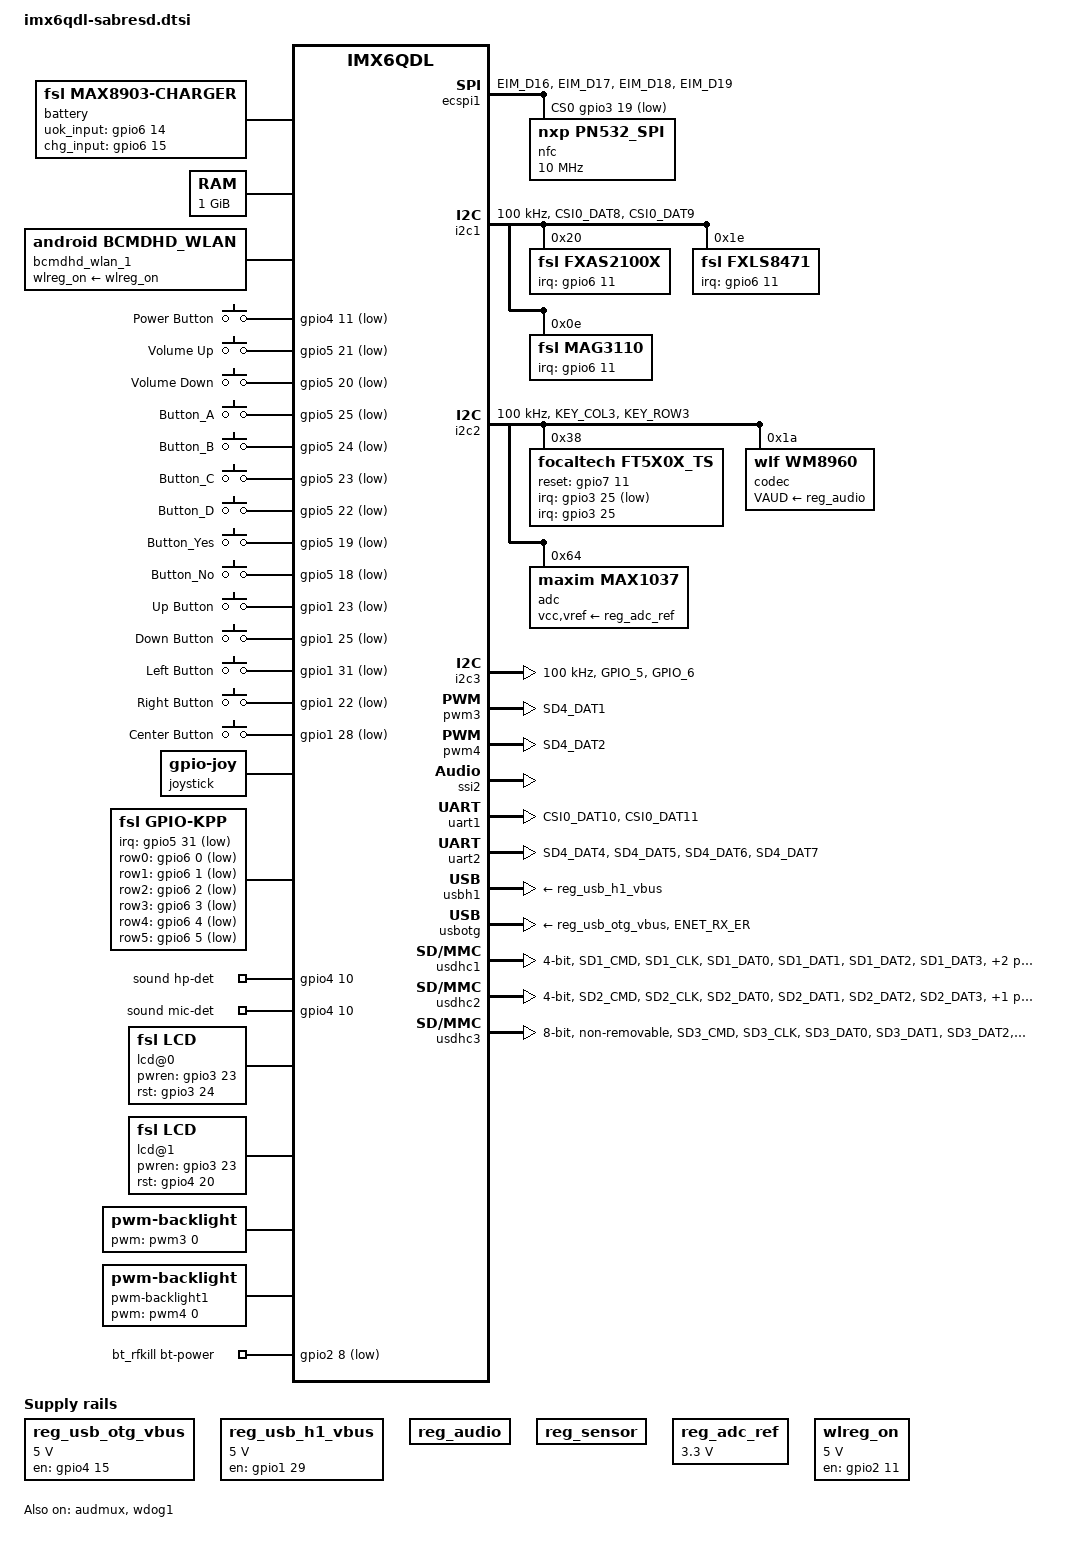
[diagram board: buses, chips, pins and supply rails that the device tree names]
/*
 * Copyright 2012 Freescale Semiconductor, Inc.
 * Copyright 2011 Linaro Ltd.
 *
 * The code contained herein is licensed under the GNU General Public
 * License. You may obtain a copy of the GNU General Public License
 * Version 2 or later at the following locations:
 *
 * http://www.opensource.org/licenses/gpl-license.html
 * http://www.gnu.org/copyleft/gpl.html
 */

#include <dt-bindings/input/input.h>

/ {
	aliases {
		mxcfb0 = &mxcfb1;
		mxcfb1 = &mxcfb2;
		mxcfb2 = &mxcfb3;
		mxcfb3 = &mxcfb4;
	};

	battery: max8903-charger {
		compatible = "fsl,max8903-charger";
		pinctrl-names = "default";
		dok_input = <>;
		uok_input = <&gpio6 14 0>;
		chg_input = <&gpio6 15 0>;
		//flt_input = <>;
		fsl,usb_valid;
		status = "okay";
	};

/*	battery: wm8326_hwmon {							*/				
/*		compatible = "wlf,wm831x-hwmon1";			*/				/* wm8326 */
/*	};												*/											

/*	hannstar_cabc {									*/
/*		compatible = "hannstar,cabc";				*/
/*													*/
/*		lvds0 {										*/
/*			gpios = <&gpio6 15 GPIO_ACTIVE_HIGH>;	*/
/*		};											*/
/*													*/
/*		lvds1 {										*/
/*			gpios = <&gpio6 16 GPIO_ACTIVE_HIGH>;	*/
/*		};											*/
/*	};												*/

/*	leds {																		*/
/*		compatible = "gpio-leds";												*/
/*																				*/
/*		charger-led {															*/
/*			gpios = <&gpio1 2 0>;												*/
/*			linux,default-trigger = "max8903-charger-charging";					*/
/*			retain-state-suspended;												*/
/*		};																		*/
/*	};																			*/

	memory: memory {
		reg = <0x10000000 0x40000000>;
	};

	regulators {
		compatible = "simple-bus";
		#address-cells = <1>;
		#size-cells = <0>;

		reg_usb_otg_vbus: regulator@0 {
			compatible = "regulator-fixed";
			reg = <0>;
			regulator-name = "usb_otg_vbus";
			regulator-min-microvolt = <5000000>;
			regulator-max-microvolt = <5000000>;
			gpio = <&gpio4 15 0>;
			enable-active-high;
		};

		reg_usb_h1_vbus: regulator@1 {
			compatible = "regulator-fixed";
			reg = <1>;
			regulator-name = "usb_h1_vbus";
			regulator-min-microvolt = <5000000>;
			regulator-max-microvolt = <5000000>;
			gpio = <&gpio1 29 0>;
			enable-active-high;
		};

		reg_audio: regulator@2 {
			compatible = "regulator-fixed";
			reg = <2>;
			regulator-name = "dummy-supply";
		};

/*		reg_mipi_dsi_pwr_on: mipi_dsi_pwr_on {		*/
/*			compatible = "regulator-fixed";			*/
/*			regulator-name = "mipi_dsi_pwr_on";		*/
/*			gpio = <&gpio6 14 0>;					*/
/*			enable-active-high;						*/
/*		};											*/

		reg_sensor: regulator@3 {
			compatible = "regulator-fixed";
			reg = <3>;
			regulator-name = "dummy2-supply";
		};

/*		reg_gps: regulator@4 {						*/
/*			compatible = "regulator-fixed";			*/
/*			reg = <4>;								*/
/*			regulator-name = "gps-supply";			*/
/*			regulator-min-microvolt = <3300000>;	*/
/*			regulator-max-microvolt = <3300000>;	*/
/*			gpio = <&gpio4 26 0>;					*/
/*			startup-delay-us = <500>;				*/
/*			enable-active-high;						*/
/*		};											*/

/*
		reg_backlight: regulator@5 {				
			compatible = "regulator-fixed";			
			reg = <5>;								
			regulator-name = "lcd-supply";			
			gpio = <&gpio3 23 GPIO_ACTIVE_HIGH>;	
			startup-delay-us = <5000>;				
			enable-active-high;						
		};											
*/

		reg_adc_ref: regulator@6 {
			compatible = "regulator-fixed";
			reg = <6>;
			regulator-name = "adc-vref-supply";
			regulator-min-microvolt = <3300000>;
			regulator-max-microvolt = <3300000>;
			enable-active-high;
		};

		wlreg_on: fixedregulator@100 {
			compatible = "regulator-fixed";
			regulator-min-microvolt = <5000000>;
			regulator-max-microvolt = <5000000>;
			regulator-name = "wlreg_on";
			gpio = <&gpio2 11 GPIO_ACTIVE_HIGH>;
			startup-delay-us = <100>;
			enable-active-high;
		};

	};

	bcmdhd_wlan_1: bcmdhd_wlan@0 {
		compatible = "android,bcmdhd_wlan";
		wlreg_on-supply = <&wlreg_on>;
	};	


	gpio-keys {
		compatible = "gpio-keys";
		pinctrl-names = "default";
		pinctrl-0 = <&pinctrl_gpio_keys>;

		power {
			label = "Power Button";
			gpios = <&gpio4 11 1>;
			gpio-key,wakeup;
			linux,code = <KEY_POWER>;
		};

		volume-up {
			label = "Volume Up";
			gpios = <&gpio5 21 1>;
			gpio-key;
			linux,code = <KEY_VOLUMEUP>;
		};
		volume-down {
			label = "Volume Down";
			gpios = <&gpio5 20 1>;
			gpio-key;
			linux,code = <KEY_VOLUMEDOWN>;
		};

		Button_A {
			label = "Button_A";
			gpios = <&gpio5 25 1>;
			gpio-key;
			linux,code = <KEY_J>;   /*A-->J*/
		};

		Button_B {
			label = "Button_B";
			gpios = <&gpio5 24 1>;
			gpio-key;
			linux,code = <KEY_SPACE>;   /*空格*/
		};

		Button_C {							
			label = "Button_C";	
			gpios = <&gpio5 23 1>;	
			gpio-key;				
			linux,code = <KEY_ESC>;   /*ESC*/
		};							

		Button_D {
			label = "Button_D";
			gpios = <&gpio5 22 1>;
			gpio-key;
			linux,code = <KEY_K>;   /*D-->K*/
		};

		Button_Yes {   
			label = "Button_Yes";
			gpios = <&gpio5 19 1>;
			gpio-key;
			//linux,code = <BTN_Y>;//*0X134*//
			linux,code = <KEY_SELECT>;  /*0X161*/
		};

		Button_No {
			label = "Button_No";
			gpios = <&gpio5 18 1>;
			gpio-key;
			linux,code =<KEY_Z>;//*0X102*//
		};

		/*五向键*/
		Button_Up {
			label = "Up Button";
			gpios = <&gpio1 23 1>;
			gpio-key;
			linux,code = <KEY_UP>;
		};

		Button_Down {
			label = "Down Button";
			gpios = <&gpio1 25 1>;
			gpio-key;
			linux,code = <KEY_DOWN>;
		};

		Button_Left {
			label = "Left Button";
			gpios = <&gpio1 31 1>;
			gpio-key;
			linux,code = <KEY_LEFT>;
		};

		Button_Right {
			label = "Right Button";
			gpios = <&gpio1 22 1>;
			gpio-key;
			linux,code = <KEY_RIGHT>;
		};
			
		Button_Center {
			label = "Center Button";
			gpios = <&gpio1 28 1>;
			gpio-key;
			linux,code = <KEY_SELECT>;  /*0X161*/
		};
	};

	joystick {
		compatible = "gpio-joy";
		pinctrl-names = "default";
		debounce-interval-ms = <1>;
		debounce-range = <3>;
		up-linux,code = <KEY_UP>;
		down-linux,code = <KEY_DOWN>;
		left-linux,code = <KEY_LEFT>;
		right-linux,code = <KEY_RIGHT>;
		detect-max = <192>;
		detect-min = <64>;
		detect-up = <25>;
		detect-down = <230>;
		detect-left = <25>;
		detect-right = <230>;
	};

/*	gps {												*/
/*		compatible = "ublox,gps";						*/
/*		gps-supply = <&reg_gps>;						*/
/*		gps-rst-gpios = <&gpio4 27 GPIO_ACTIVE_HIGH>;	*/
/*		status = "okay";								*/
/*	};													*/
	
	kpp {
		compatible = "fsl,gpio-kpp";
		pinctrl-names = "default";
		pinctrl-0 = <&pinctrl_kpp1>;
		linux,keymap = <
				MATRIX_KEY(0x1, 0x0, KEY_A)
				MATRIX_KEY(0x1, 0x2, KEY_B)
				MATRIX_KEY(0x0, 0x2, KEY_C)
				MATRIX_KEY(0x2, 0x5, KEY_D)
				MATRIX_KEY(0x2, 0x0, KEY_E)
				MATRIX_KEY(0x3, 0x5, KEY_F)
				MATRIX_KEY(0x3, 0x0, KEY_G)
				MATRIX_KEY(0x3, 0x2, KEY_H)
				MATRIX_KEY(0x5, 0x0, KEY_I)
				MATRIX_KEY(0x5, 0x1, KEY_J)
				MATRIX_KEY(0x1, 0x4, KEY_K)
				MATRIX_KEY(0x1, 0x5, KEY_L)
				MATRIX_KEY(0x0, 0x5, KEY_M)
				MATRIX_KEY(0x0, 0x1, KEY_N)
				MATRIX_KEY(0x2, 0x1, KEY_O)
				MATRIX_KEY(0x2, 0x3, KEY_P)
				MATRIX_KEY(0x3, 0x1, KEY_Q)
				MATRIX_KEY(0x5, 0x2, KEY_R)
				MATRIX_KEY(0x4, 0x0, KEY_S)
				MATRIX_KEY(0x5, 0x5, KEY_T)
				MATRIX_KEY(0x1, 0x3, KEY_U)
				MATRIX_KEY(0x0, 0x3, KEY_V)
				MATRIX_KEY(0x0, 0x4, KEY_W)
				MATRIX_KEY(0x2, 0x4, KEY_X)
				MATRIX_KEY(0x5, 0x4, KEY_Y)
				MATRIX_KEY(0x5, 0x3, KEY_Z)
				MATRIX_KEY(0x3, 0x4, KEY_BACK)
				MATRIX_KEY(0x4, 0x1, KEY_ENTER)
		>;
		irq-gpio = <&gpio5 31 1>;
		gpio-row0 = <&gpio6 0 1>;
		gpio-row1 = <&gpio6 1 1>;
		gpio-row2 = <&gpio6 2 1>;
		gpio-row3 = <&gpio6 3 1>;
		gpio-row4 = <&gpio6 4 1>;
		gpio-row5 = <&gpio6 5 1>;
		status = "okay";
	};


	sound {
		compatible = "fsl,imx6ul-evk-wm8960",
			   "fsl,imx-audio-wm8960";
		model = "wm8960-audio";
		cpu-dai = <&ssi2>;
		audio-codec = <&codec>;
		asrc-controller = <&asrc>;
		codec-master;
		/*
                 * hp-det = <hp-det-pin hp-det-polarity>;
		 * hp-det-pin: JD1 JD2  or JD3
		 * hp-det-polarity = 0: hp detect high for headphone
		 * hp-det-polarity = 1: hp detect high for speaker
		 */
		hp-det = <3 0>;
		hp-det-gpios = <&gpio4 10 0>;
		mic-det-gpios = <&gpio4 10 0>;
		audio-routing =
			"Headset Jack", "HP_L",
			"Headset Jack", "HP_R",
			"Ext Spk", "SPK_LP",
			"Ext Spk", "SPK_LN",
			"Ext Spk", "SPK_RP",
			"Ext Spk", "SPK_RN",
			"LINPUT1", "Hp MIC",
			"LINPUT3", "Hp MIC",
			"RINPUT1", "Main MIC",
			"RINPUT2", "Main MIC",
			"Hp MIC", "MICB",
			"Main MIC", "MICB",
			"CPU-Playback", "ASRC-Playback",
			"Playback", "CPU-Playback",
			"ASRC-Capture", "CPU-Capture",
			"CPU-Capture", "Capture";
		mux-int-port = <2>;
		mux-ext-port = <5>;
	};

/*	sound-hdmi {								*/
/*		compatible = "fsl,imx6q-audio-hdmi",	*/
/*			     "fsl,imx-audio-hdmi";			*/
/*		model = "imx-audio-hdmi";				*/
/*		hdmi-controller = <&hdmi_audio>;		*/
/*		status = "disabled";					*/
/*	};											*/

	mxcfb1: fb@0 {
		compatible = "fsl,mxc_sdc_fb";
		disp_dev = "lcd";
		interface_pix_fmt = "RGB24";
		mode_str ="Himax-SVGA";
		default_bpp = <24>;
		int_clk = <0>;
		late_init = <0>;
		status = "okay";
	};

	mxcfb2: fb@1 {
		compatible = "fsl,mxc_sdc_fb";
		disp_dev = "lcd";
		interface_pix_fmt = "RGB24";
		mode_str ="Himax-SVGA";
		default_bpp = <24>;
		int_clk = <0>;
		late_init = <0>;
		status = "okay";
	};

	mxcfb3: fb@2 {
		compatible = "fsl,mxc_sdc_fb";
		disp_dev = "lcd";
		interface_pix_fmt = "RGB565";
		mode_str ="CLAA-WVGA";
		default_bpp = <16>;
		int_clk = <0>;
		late_init = <0>;
		status = "disabled";
	};

	mxcfb4: fb@3 {
		compatible = "fsl,mxc_sdc_fb";
		disp_dev = "ldb";
		interface_pix_fmt = "RGB666";
		default_bpp = <16>;
		int_clk = <0>;
		late_init = <0>;
		status = "disabled";
	};

	lcd@0 { 	/* J701 */
		compatible = "fsl,lcd";
		ipu_id = <0>;
		disp_id = <1>;
		default_ifmt = "RGB24";
		pinctrl-names = "default";
		pinctrl-0 = <&pinctrl_ipu1_sec>;
		pwren-gpios = <&gpio3 23 0>;
		rst-gpios = <&gpio3 24 0>;
		status = "okay";
	};

	lcd@1 {	/* J1821 */
		compatible = "fsl,lcd";
		ipu_id = <0>;
		disp_id = <0>;
		default_ifmt = "RGB24";
		pinctrl-names = "default";
		pinctrl-0 = <&pinctrl_ipu1>;
		pwren-gpios = <&gpio3 23 0>;
		rst-gpios = <&gpio4 20 0>;
		status = "okay";
	};

	pwm-backlight {
		compatible = "pwm-backlight";
		pwms = <&pwm3 0 50000>;
		brightness-levels = <
			0  /*1  2  3  4  5  6*/  7  8  9
			10 11 12 13 14 15 16 17 18 19
			20 21 22 23 24 25 26 27 28 29
			30 31 32 33 34 35 36 37 38 39
			40 41 42 43 44 45 46 47 48 49
			50 51 52 53 54 55 56 57 58 59
			60 61 62 63 64 65 66 67 68 69
			70 71 72 73 74 75 76 77 78 79
			80 81 82 83 84 85 86 87 88 89
			90 91 92 93 94 95 96 97 98 99
			100
			>;
		default-brightness-level = <94>;
	};

	pwm-backlight1 {
		compatible = "pwm-backlight";
		pwms = <&pwm4 0 50000>;
		brightness-levels = <
			0  /*1  2  3  4  5  6*/  7  8  9
			10 11 12 13 14 15 16 17 18 19
			20 21 22 23 24 25 26 27 28 29
			30 31 32 33 34 35 36 37 38 39
			40 41 42 43 44 45 46 47 48 49
			50 51 52 53 54 55 56 57 58 59
			60 61 62 63 64 65 66 67 68 69
			70 71 72 73 74 75 76 77 78 79
			80 81 82 83 84 85 86 87 88 89
			90 91 92 93 94 95 96 97 98 99
			100
			>;
		default-brightness-level = <94>;
	};

/*	v4l2_cap_0 {										*/
/*		compatible = "fsl,imx6q-v4l2-capture";			*/
/*		ipu_id = <0>;									*/
/*		csi_id = <0>;									*/
/*		mclk_source = <0>;								*/
/*		status = "disabled";							*/
/*	};													*/

/*	v4l2_cap_1 {										*/
/*		compatible = "fsl,imx6q-v4l2-capture";			*/
/*		ipu_id = <0>;									*/
/*		csi_id = <1>;									*/
/*		mclk_source = <0>;								*/
/*		status = "disabled";							*/
/*	};													*/

/*	v4l2_out {											*/
/*		compatible = "fsl,mxc_v4l2_output";				*/
/*		status = "disabled";							*/
/*	};													*/

/*	mipi_dsi_reset: mipi-dsi-reset {					*/
/*		compatible = "gpio-reset";						*/
/*		reset-gpios = <&gpio6 11 GPIO_ACTIVE_LOW>;		*/
/*		reset-delay-us = <50>;							*/
/*		#reset-cells = <0>;								*/
/*	};													*/
	
/*	minipcie_ctrl {										*/
/*		power-on-gpio = <&gpio3 19 0>;					*/
/*	};													*/

    bt_rfkill {
                compatible = "fsl,mxc_bt_rfkill";
                bt-power-gpios = <&gpio2 8 1>;
				//bt-dev-wake-gpios = <&gpio2 4 1>;
                status ="okay";
    };

	ramoops_device {
		compatible = "fsl,mxc_ramoops";
		record_size = <524288>; /*512K*/
		console_size = <262144>; /*256K*/
		ftrace_size = <262144>;  /*256K*/
		dump_oops = <1>;
		status = "okay";
	};

	caam_keyblob {
		compatible = "fsl,sec-v4.0-keyblob";
	};

};

&audmux {
	pinctrl-names = "default";
	pinctrl-0 = <&pinctrl_audmux>;
	status = "okay";
};

&cpu0 {
/*	arm-supply = <&sw1a_reg>;
	soc-supply = <&sw1c_reg>;
*/
};

&clks {
	fsl,ldb-di0-parent = <&clks IMX6QDL_CLK_PLL2_PFD0_352M>;
	fsl,ldb-di1-parent = <&clks IMX6QDL_CLK_PLL2_PFD0_352M>;
	assigned-clocks = <&clks IMX6QDL_CLK_CKO1>;
	assigned-clock-rates = <12288000>;
};

&ecspi1 {
	fsl,spi-num-chipselects = <1>;
	cs-gpios = <&gpio3 19 GPIO_ACTIVE_LOW>;
	pinctrl-names = "default";
	pinctrl-0 = <&pinctrl_ecspi1>;
	status = "okay";

	nfc: pn512@0 {				
		compatible = "nxp,pn532_spi";
		spi-max-frequency = <10000000>;
		reg = <0>;
	};
};

/*&ecspi1 {									*/
/*	fsl,spi-num-chipselects = <1>;			*/
/*	cs-gpios = <&gpio4 9 0>;				*/
/*	pinctrl-names = "default";				*/
/*	pinctrl-0 = <&pinctrl_ecspi1>;			*/
/*	status = "disabled";					*/
											
/*	flash: m25p80@0 {						*/
/*		#address-cells = <1>;				*/
/*		#size-cells = <1>;					*/
/*		compatible = "st,m25p32";			*/
/*		spi-max-frequency = <20000000>;		*/
/*		reg = <0>;							*/
/*	};										*/
/*};										*/

/*	&fec {								*/
/*	pinctrl-names = "default";			*/
/*	pinctrl-0 = <&pinctrl_enet>;		*/
/*	phy-mode = "rgmii";					*/
/*	phy-reset-gpios = <&gpio1 25 0>;	*/
/*	fsl,magic-packet;					*/
/*	status = "disabled";				*/
/*	};									*/

&i2c1 {
	clock-frequency = <100000>;
	pinctrl-names = "default";
	pinctrl-0 = <&pinctrl_i2c1>;
	status = "okay";

	fxas2100x@20 {	/* Gyroscope */						
		compatible = "fsl,fxas2100x";	
		reg = <0x20>;					
		position = <3>;					
		interrupt-parent = <&gpio6>;
		interrupts = <11 8>;	
		/* shared-interrupt;			*/	
	};									

	fxls8471@1e {	/* Accelerometer */					
		compatible = "fsl,fxls8471";	
		reg = <0x1E>;					
		position = <0>;					
		interrupt-parent = <&gpio6>;	
		interrupts = <11 8>;			
		/* shared-interrupt;			*/			
	};									


	mag3110@0e {	/* e-Compass */					
		compatible = "fsl,mag3110";		
		reg = <0x0E>;					
		position = <1>;					
		interrupt-parent = <&gpio6>;
		interrupts = <11 8>;	
		/* shared-interrupt;			*/		
	};									
};

&i2c2 {
	clock-frequency = <100000>;
	pinctrl-names = "default";
	pinctrl-0 = <&pinctrl_i2c2>;
	status = "okay";

	/* add by ian at 2017-03-02 */
	/* for touchscreen FT5336 */
	ft5x0x_ts@38 {						
		compatible = "focaltech,ft5x0x_ts";	
 		reg = <0x38>;						
 		interrupt-parent = <&gpio3>;		
 		interrupts = <25 0x2>;				
		reset-gpio = <&gpio7 11 0x00>;		
		irq-gpio = <&gpio3 25 0x01>;		
	};									
	
	
/*	hdmi: edid@50 {							*/
/*		compatible = "fsl,imx6-hdmi-i2c";	*/
/*		reg = <0x50>;						*/
/*	};										*/

	codec: wm8960@1a {
		compatible = "wlf,wm8960";
		reg = <0x1a>;
		clocks = <&clks IMX6QDL_CLK_CKO>;
		clock-names = "mclk";
		VAUD-supply = <&reg_audio>;
		wlf,shared-lrclk;
	};

	adc@64 {								
		compatible = "maxim,max1037";		
		vcc-supply = <&reg_adc_ref>;
		vref-supply = <&reg_adc_ref>;		
		reg = <0x64>;						
	};										

/*	isl29023@44 {						*/
/*		compatible = "fsl,isl29023";	*/
/*		reg = <0x44>;					*/
/*		rext = <499>;					*/
/*		vdd-supply = <&reg_sensor>;		*/
/*		interrupt-parent = <&gpio2>;	*/
/*		interrupts = <31 2>;			*/
/*	};									*/

/*	lm75@48 {							*/
/*		compatible = "lm75";			*/
/*		reg = <0x48>;					*/
/*	};									*/
	
};

&i2c3 {
	clock-frequency = <100000>;
	pinctrl-names = "default";
	pinctrl-0 = <&pinctrl_i2c3>;
	status = "okay";

/*	sht3x@44 {								*/
/*		compatible = "sensirion,sht3x";		*/
/*		reg = <0x44>;						*/
/*	};										*/

/*	mpl3115@60 {							*/
/*		compatible = "fsl,mpl3115";			*/
/*		reg = <0x60>;						*/
/*		position = <3>;						*/
/*		interrupt-parent = <&gpio5>;		*/
/*		interrupts = <25 8>;				*/
/*		shared-interrupt;					*/
/*	};										*/

/*	wm8326: wm8326@34 {						*/
/*		compatible = "wlf,wm8326";			*/
/*		status = "okay";					*/
/*		battadc-gpios = <&gpio6 16 0>;		*/
/*		chgok-gpios = <&gpio6 15 0>;		*/
/*		acok-gpios = <&gpio6 14 0>;			*/
/*		reg = <0x34>;						*/
/*	};										*/

/*	ov564x_mipi: ov564x_mipi@3c { 			*/	/* i2c2 driver */
/*		compatible = "ovti,ov564x_mipi";	*/
/*		status = "disabled";				*/
/*		reg = <0x3c>;						*/
/*		clocks = <&clks IMX6QDL_CLK_CKO2>;	*/
/*		clock-names = "csi_mclk";			*/
/*		DOVDD-supply = <&reg_sensor>;		*/	/* 1.8v */
/*		AVDD-supply = <&reg_sensor>;		*/  /* 2.8v, on rev C board is VGEN3, on rev B board is VGEN5 */
/*		DVDD-supply = <&reg_sensor>;		*/	/* 1.5v*/
/*		pwn-gpios = <&gpio5 17 1>;			*/	/* active low: SD1_DAT0 */
/*		rst-gpios = <&gpio4 10 0>;			*/	/* active high: KEY_COL2 */
/*		csi_id = <1>;						*/
/*		mclk = <24000000>;					*/
/*		mclk_source = <0>;					*/
/*	};										*/

};

&iomuxc {
	pinctrl-names = "default";
	pinctrl-0 = <&pinctrl_hog>;

	imx6qdl-sabresd {
		pinctrl_hog: hoggrp {
			fsl,pins = <
				MX6QDL_PAD_ENET_RXD0__XTALOSC_OSC32K_32K_OUT 0x100b1
				MX6QDL_PAD_NANDF_D0__GPIO2_IO00 		0x80000000		/* WL_HOST_WAKE */
				MX6QDL_PAD_NANDF_D1__GPIO2_IO01 		0x80000000		/* none */
				MX6QDL_PAD_NANDF_D2__GPIO2_IO02 		0x80000000		/* none	*/
				MX6QDL_PAD_NANDF_D3__GPIO2_IO03 		0x80000000		/* none */
				MX6QDL_PAD_GPIO_0__CCM_CLKO1    		0x17088			/* # CLKO */
				MX6QDL_PAD_GPIO_3__CCM_CLKO2			0x130b0			/* # CLKO2 */
				MX6QDL_PAD_NANDF_CLE__GPIO6_IO07 		0x80000000		/* none */
				MX6QDL_PAD_NANDF_ALE__GPIO6_IO08 		0x80000000		/* GPIO_DVFS */
				MX6QDL_PAD_KEY_ROW4__GPIO4_IO15  		0x80000000		/* USB_OTG_PWREN */
				MX6QDL_PAD_EIM_D23__GPIO3_IO23 			0x80000000		/* LCD Power En */
				MX6QDL_PAD_SD3_RST__GPIO7_IO08			0x80000000		/* SD3_RST */
				MX6QDL_PAD_GPIO_9__WDOG1_B 				0x80000000		/* nWDOG */
				MX6QDL_PAD_NANDF_CS0__GPIO6_IO11 		0x80000000		/* ACC_INT */
				MX6QDL_PAD_NANDF_CS1__GPIO6_IO14 		0x80000000		/* nACOK */
				MX6QDL_PAD_NANDF_CS2__GPIO6_IO15 		0x80000000		/* nCHGOK */
				MX6QDL_PAD_NANDF_CS3__GPIO6_IO16 		0x80000000		/* BAT_nFault */
				MX6QDL_PAD_GPIO_16__GPIO7_IO11 			0x80000000		/* TouchScreen reset */ /* add by ian at 2017-03-02 */
				MX6QDL_PAD_EIM_D25__GPIO3_IO25 			0x80000000		/* TouchScreen INT	*/	/* add by ian at 2017-03-02 */
				MX6QDL_PAD_SD4_DAT0__GPIO2_IO08			0x80000000		/* BT_REG_ON */
				MX6QDL_PAD_NANDF_D4__GPIO2_IO04			0x80000000		/* BT_DEV_WAKE */
				MX6QDL_PAD_NANDF_D5__GPIO2_IO05			0x80000000		/* BT_HOST_WAKE */
				MX6QDL_PAD_GPIO_4__GPIO1_IO04			0x80000000		/* SD2_CD */
                MX6QDL_PAD_GPIO_2__GPIO1_IO02 			0x80000000  	/* SD2_WP*/
				MX6QDL_PAD_EIM_D20__GPIO3_IO20			0x80000000		/* NFC RESET */	
				MX6QDL_PAD_EIM_D21__GPIO3_IO21			0x80000000		/* NFC IRQ */
				MX6QDL_PAD_KEY_COL2__GPIO4_IO10			0x80000000		/* hp detect */
			>;
		};

		pinctrl_audmux: audmuxgrp {
			fsl,pins = <
				MX6QDL_PAD_KEY_ROW1__AUD5_RXD	0x130b0		/* 0x11088 */
				MX6QDL_PAD_KEY_COL1__AUD5_TXFS	0x130b0		/* 0x17088 */
				MX6QDL_PAD_KEY_ROW0__AUD5_TXD	0x110b0		/* 0x11088 */
				MX6QDL_PAD_KEY_COL0__AUD5_TXC	0x130b0		/* 0x17088 */
			>;
		};

		pinctrl_ecspi1: ecspi1grp {								
			fsl,pins = <				
				MX6QDL_PAD_EIM_D16__ECSPI1_SCLK		0x100b1									
				MX6QDL_PAD_EIM_D17__ECSPI1_MISO		0x100b1			
				MX6QDL_PAD_EIM_D18__ECSPI1_MOSI		0x100b1		
				//MX6QDL_PAD_EIM_D19__ECSPI1_SS1		0x100b1	
				MX6QDL_PAD_EIM_D19__GPIO3_IO19		0x100b1
			>;														
		};														

		/*pinctrl_enet: enetgrp {									*/
		/*	fsl,pins = <											*/
		/*		MX6QDL_PAD_ENET_MDIO__ENET_MDIO		0x1b0b0			*/
		/*		MX6QDL_PAD_ENET_MDC__ENET_MDC		0x1b0b0			*/
		/*		MX6QDL_PAD_RGMII_TXC__RGMII_TXC		0x1b0b0			*/
		/*		MX6QDL_PAD_RGMII_TD0__RGMII_TD0		0x1b0b0			*/
		/*		MX6QDL_PAD_RGMII_TD1__RGMII_TD1		0x1b0b0			*/
		/*		MX6QDL_PAD_RGMII_TD2__RGMII_TD2		0x1b0b0			*/
		/*		MX6QDL_PAD_RGMII_TD3__RGMII_TD3		0x1b0b0			*/
		/*		MX6QDL_PAD_RGMII_TX_CTL__RGMII_TX_CTL	0x1b0b0		*/
		/*		MX6QDL_PAD_ENET_REF_CLK__ENET_TX_CLK	0x1b0b0		*/
		/*		MX6QDL_PAD_RGMII_RXC__RGMII_RXC		0x1b0b0			*/
		/*		MX6QDL_PAD_RGMII_RD0__RGMII_RD0		0x1b0b0			*/
		/*		MX6QDL_PAD_RGMII_RD1__RGMII_RD1		0x1b0b0			*/
		/*		MX6QDL_PAD_RGMII_RD2__RGMII_RD2		0x1b0b0			*/
		/*		MX6QDL_PAD_RGMII_RD3__RGMII_RD3		0x1b0b0			*/
		/*		MX6QDL_PAD_RGMII_RX_CTL__RGMII_RX_CTL	0x1b0b0		*/
		/*		MX6QDL_PAD_GPIO_16__ENET_REF_CLK	0x4001b0a8		*/
		/*	>;														*/
		/*};														*/

		/*pinctrl_enet_irq: enetirqgrp {							*/				
		/*	fsl,pins = <											*/
		/*		MX6QDL_PAD_GPIO_6__ENET_IRQ		0x000b1				*/
		/*	>;														*/
		/*};														*/

		pinctrl_gpio_keys: gpio_keysgrp {
			fsl,pins = <				
				MX6QDL_PAD_KEY_ROW2__GPIO4_IO11 		0x80000000		/* ONOFF INT */ /* power key */
				MX6QDL_PAD_CSI0_VSYNC__GPIO5_IO21		0x80000000		/* vol+ */
				MX6QDL_PAD_CSI0_DATA_EN__GPIO5_IO20		0x80000000		/* vol- */

				MX6QDL_PAD_CSI0_DAT4__GPIO5_IO22		0x80000000		/* KEY_D */
				MX6QDL_PAD_CSI0_DAT5__GPIO5_IO23    	0x80000000		/* KEY_C */
				MX6QDL_PAD_CSI0_DAT6__GPIO5_IO24    	0x80000000		/* KEY_B */
				MX6QDL_PAD_CSI0_DAT7__GPIO5_IO25    	0x80000000		/* KEY_A */  
				MX6QDL_PAD_CSI0_MCLK__GPIO5_IO19    	0x80000000		/* YES */
				MX6QDL_PAD_CSI0_PIXCLK__GPIO5_IO18  	0x80000000		/* NO */

				MX6QDL_PAD_ENET_MDC__GPIO1_IO31			0x80000000		/* joystick_left */	
				MX6QDL_PAD_ENET_MDIO__GPIO1_IO22		0x80000000		/* joystick_right */	
				MX6QDL_PAD_ENET_CRS_DV__GPIO1_IO25		0x80000000		/* joystick_down */
				MX6QDL_PAD_ENET_REF_CLK__GPIO1_IO23   	0x80000000		/* joystick_up */
				MX6QDL_PAD_ENET_TX_EN__GPIO1_IO28		0x80000000		/* joystick_center */
			>;
		};
		
		/*pinctrl_hdmi_cec: hdmicecgrp {							*/
		/*	fsl,pins = <											*/
		/*		MX6QDL_PAD_KEY_ROW2__HDMI_TX_CEC_LINE 0x1f8b0 		*/
		/*	>;														*/
		/*};														*/

		/*pinctrl_hdmi_hdcp: hdmihdcpgrp {							*/
		/*	fsl,pins = <											*/
		/*		MX6QDL_PAD_KEY_COL3__HDMI_TX_DDC_SCL 0x4001b8b1 	*/
		/*		MX6QDL_PAD_KEY_ROW3__HDMI_TX_DDC_SDA 0x4001b8b1 	*/
		/*	>;														*/
		/*};														*/

		pinctrl_i2c1: i2c1grp {
			fsl,pins = <
				MX6QDL_PAD_CSI0_DAT8__I2C1_SDA		0x4001b8b1
				MX6QDL_PAD_CSI0_DAT9__I2C1_SCL		0x4001b8b1
			>;
		};

		pinctrl_i2c2: i2c2grp {
			fsl,pins = <
				MX6QDL_PAD_KEY_COL3__I2C2_SCL		0x4001b8b1
				MX6QDL_PAD_KEY_ROW3__I2C2_SDA		0x4001b8b1
			 >;
		};

		pinctrl_i2c3: i2c3grp {
			fsl,pins = <
				MX6QDL_PAD_GPIO_5__I2C3_SCL		0x4001b8b1
				MX6QDL_PAD_GPIO_6__I2C3_SDA		0x4001b8b1
			>;
		};

		pinctrl_ipu1: ipu1grp {
			fsl,pins = <
				MX6QDL_PAD_DI0_DISP_CLK__IPU1_DI0_DISP_CLK 0x4001b0b1
				MX6QDL_PAD_DI0_PIN15__IPU1_DI0_PIN15       0x4001b0b1
				MX6QDL_PAD_DI0_PIN2__IPU1_DI0_PIN02        0x4001b0b1
				MX6QDL_PAD_DI0_PIN3__IPU1_DI0_PIN03        0x4001b0b1
				MX6QDL_PAD_DI0_PIN4__GPIO4_IO20			   0x80000000
				MX6QDL_PAD_DISP0_DAT0__IPU1_DISP0_DATA00   0x4001b0b1
				MX6QDL_PAD_DISP0_DAT1__IPU1_DISP0_DATA01   0x4001b0b1
				MX6QDL_PAD_DISP0_DAT2__IPU1_DISP0_DATA02   0x4001b0b1
				MX6QDL_PAD_DISP0_DAT3__IPU1_DISP0_DATA03   0x4001b0b1
				MX6QDL_PAD_DISP0_DAT4__IPU1_DISP0_DATA04   0x4001b0b1
				MX6QDL_PAD_DISP0_DAT5__IPU1_DISP0_DATA05   0x4001b0b1
				MX6QDL_PAD_DISP0_DAT6__IPU1_DISP0_DATA06   0x4001b0b1
				MX6QDL_PAD_DISP0_DAT7__IPU1_DISP0_DATA07   0x4001b0b1
				MX6QDL_PAD_DISP0_DAT8__IPU1_DISP0_DATA08   0x4001b0b1
				MX6QDL_PAD_DISP0_DAT9__IPU1_DISP0_DATA09   0x4001b0b1
				MX6QDL_PAD_DISP0_DAT10__IPU1_DISP0_DATA10  0x4001b0b1
				MX6QDL_PAD_DISP0_DAT11__IPU1_DISP0_DATA11  0x4001b0b1
				MX6QDL_PAD_DISP0_DAT12__IPU1_DISP0_DATA12  0x4001b0b1
				MX6QDL_PAD_DISP0_DAT13__IPU1_DISP0_DATA13  0x4001b0b1
				MX6QDL_PAD_DISP0_DAT14__IPU1_DISP0_DATA14  0x4001b0b1
				MX6QDL_PAD_DISP0_DAT15__IPU1_DISP0_DATA15  0x4001b0b1
				MX6QDL_PAD_DISP0_DAT16__IPU1_DISP0_DATA16  0x4001b0b1
				MX6QDL_PAD_DISP0_DAT17__IPU1_DISP0_DATA17  0x4001b0b1
				MX6QDL_PAD_DISP0_DAT18__IPU1_DISP0_DATA18  0x4001b0b1
				MX6QDL_PAD_DISP0_DAT19__IPU1_DISP0_DATA19  0x4001b0b1
				MX6QDL_PAD_DISP0_DAT20__IPU1_DISP0_DATA20  0x4001b0b1
				MX6QDL_PAD_DISP0_DAT21__IPU1_DISP0_DATA21  0x4001b0b1
				MX6QDL_PAD_DISP0_DAT22__IPU1_DISP0_DATA22  0x4001b0b1
				MX6QDL_PAD_DISP0_DAT23__IPU1_DISP0_DATA23  0x4001b0b1
			>;
		};

		pinctrl_ipu1_sec: ipu1grp-sec {
			fsl,pins = <
				MX6QDL_PAD_EIM_A16__IPU1_DI1_DISP_CLK	0x4001b0b1
				MX6QDL_PAD_EIM_DA10__IPU1_DI1_PIN15		0x4001b0b1	/* DRDY */
				MX6QDL_PAD_EIM_DA11__IPU1_DI1_PIN02		0x4001b0b1	/* HSYNC */
				MX6QDL_PAD_EIM_DA12__IPU1_DI1_PIN03		0x4001b0b1	/* VSYNC */
				MX6QDL_PAD_EIM_D24__GPIO3_IO24			0x80000000 /* RST */
				MX6QDL_PAD_EIM_D27__IPU1_DISP1_DATA23	0x4001b0b1
				MX6QDL_PAD_EIM_D26__IPU1_DISP1_DATA22	0x4001b0b1
				MX6QDL_PAD_EIM_D30__IPU1_DISP1_DATA21	0x4001b0b1
				MX6QDL_PAD_EIM_D31__IPU1_DISP1_DATA20	0x4001b0b1
				MX6QDL_PAD_EIM_A24__IPU1_DISP1_DATA19	0x4001b0b1
				MX6QDL_PAD_EIM_A23__IPU1_DISP1_DATA18	0x4001b0b1
				MX6QDL_PAD_EIM_A22__IPU1_DISP1_DATA17	0x4001b0b1
				MX6QDL_PAD_EIM_A21__IPU1_DISP1_DATA16	0x4001b0b1
				MX6QDL_PAD_EIM_A20__IPU1_DISP1_DATA15	0x4001b0b1
				MX6QDL_PAD_EIM_A19__IPU1_DISP1_DATA14	0x4001b0b1
				MX6QDL_PAD_EIM_A18__IPU1_DISP1_DATA13	0x4001b0b1
				MX6QDL_PAD_EIM_A17__IPU1_DISP1_DATA12	0x4001b0b1
				MX6QDL_PAD_EIM_EB0__IPU1_DISP1_DATA11	0x4001b0b1
				MX6QDL_PAD_EIM_EB1__IPU1_DISP1_DATA10	0x4001b0b1
				MX6QDL_PAD_EIM_DA0__IPU1_DISP1_DATA09	0x4001b0b1
				MX6QDL_PAD_EIM_DA1__IPU1_DISP1_DATA08	0x4001b0b1
				MX6QDL_PAD_EIM_DA2__IPU1_DISP1_DATA07	0x4001b0b1
				MX6QDL_PAD_EIM_DA3__IPU1_DISP1_DATA06	0x4001b0b1
				MX6QDL_PAD_EIM_DA4__IPU1_DISP1_DATA05	0x4001b0b1
				MX6QDL_PAD_EIM_DA5__IPU1_DISP1_DATA04	0x4001b0b1
				MX6QDL_PAD_EIM_DA6__IPU1_DISP1_DATA03	0x4001b0b1
				MX6QDL_PAD_EIM_DA7__IPU1_DISP1_DATA02	0x4001b0b1
				MX6QDL_PAD_EIM_DA8__IPU1_DISP1_DATA01	0x4001b0b1
				MX6QDL_PAD_EIM_DA9__IPU1_DISP1_DATA00	0x4001b0b1

			>;
		};

		/*	pinctrl_ipu1_2: ipu1grp-2 { 								*／	/* parallel camera */			
		/*	fsl,pins = <												*/
		/*		MX6QDL_PAD_CSI0_DAT12__IPU1_CSI0_DATA12    0x80000000	*/
		/*		MX6QDL_PAD_CSI0_DAT13__IPU1_CSI0_DATA13    0x80000000	*/
		/*		MX6QDL_PAD_CSI0_DAT14__IPU1_CSI0_DATA14    0x80000000	*/
		/*		MX6QDL_PAD_CSI0_DAT15__IPU1_CSI0_DATA15    0x80000000	*/
		/*		MX6QDL_PAD_CSI0_DAT16__IPU1_CSI0_DATA16    0x80000000	*/
		/*		MX6QDL_PAD_CSI0_DAT17__IPU1_CSI0_DATA17    0x80000000	*/
		/*		MX6QDL_PAD_CSI0_DAT18__IPU1_CSI0_DATA18    0x80000000	*/
		/*		MX6QDL_PAD_CSI0_DAT19__IPU1_CSI0_DATA19    0x80000000	*/
		/*		MX6QDL_PAD_CSI0_DATA_EN__IPU1_CSI0_DATA_EN 0x80000000	*/
		/*		MX6QDL_PAD_CSI0_PIXCLK__IPU1_CSI0_PIXCLK   0x80000000	*/
		/*		MX6QDL_PAD_CSI0_MCLK__IPU1_CSI0_HSYNC      0x80000000	*/
		/*		MX6QDL_PAD_CSI0_VSYNC__IPU1_CSI0_VSYNC     0x80000000	*/
		/*	>;															*/
		/*	};															*/

		/*pinctrl_pwm1: pwm1grp {										*/
		/*	fsl,pins = <												*/
		/*		MX6QDL_PAD_SD1_DAT3__PWM1_OUT		0x1b0b1				*/
		/*	>;															*/
		/*};															*/

		pinctrl_pwm3: pwm3grp {
			fsl,pins = <
				MX6QDL_PAD_SD4_DAT1__PWM3_OUT		0x1b0b1
			>;
		};

		pinctrl_pwm4: pwm4grp {
			fsl,pins = <
				MX6QDL_PAD_SD4_DAT2__PWM4_OUT		0x1b0b1
			>;
		};

		pinctrl_uart1: uart1grp {
			fsl,pins = <
				MX6QDL_PAD_CSI0_DAT10__UART1_TX_DATA	0x1b0b1
				MX6QDL_PAD_CSI0_DAT11__UART1_RX_DATA	0x1b0b1
			>;
		};

		pinctrl_uart2: uart2grp {
			fsl,pins = <
					MX6QDL_PAD_SD4_DAT4__UART2_RX_DATA		0x1b0b1	
					MX6QDL_PAD_SD4_DAT5__UART2_RTS_B		0x1b0b1	
					MX6QDL_PAD_SD4_DAT6__UART2_CTS_B		0x1b0b1	
					MX6QDL_PAD_SD4_DAT7__UART2_TX_DATA		0x1b0b1	
			>;
		};

		/*pinctrl_uart3: uart3grp {								*/
		/*	fsl,pins = <										*/
				/* MX6QDL_PAD_EIM_D25__UART3_RX_DATA	0x1b0b1 */
				/* MX6QDL_PAD_EIM_D24__UART3_TX_DATA	0x1b0b1 */
		/*	>;													*/
		/*};													*/

		/*pinctrl_uart4: uart4grp {								*/
		/*	fsl,pins = <										*/
				/* MX6QDL_PAD_KEY_COL0__UART4_TX_DATA	0x1b0b1 */
				/* MX6QDL_PAD_KEY_ROW0__UART4_RX_DATA	0x1b0b1 */
		/*	>;													*/
		/*};													*/

		/*pinctrl_uart5_1: uart5grp-1 {							*/
		/*	fsl,pins = <										*/
				/* MX6QDL_PAD_KEY_COL1__UART5_TX_DATA	0x1b0b1 */
				/* MX6QDL_PAD_KEY_ROW1__UART5_RX_DATA	0x1b0b1 */
				/* MX6QDL_PAD_KEY_COL4__UART5_RTS_B	0x1b0b1 */
				/* MX6QDL_PAD_KEY_ROW4__UART5_CTS_B	0x1b0b1 */
		/*	>;													*/
		/*};													*/

		/*pinctrl_uart5dte_1: uart5dtegrp-1 {					*/
		/*	fsl,pins = <										*/
				/* MX6QDL_PAD_KEY_ROW1__UART5_TX_DATA	0x1b0b1 */
				/* MX6QDL_PAD_KEY_COL1__UART5_RX_DATA	0x1b0b1 */
				/* MX6QDL_PAD_KEY_ROW4__UART5_RTS_B	0x1b0b1 */
				/* MX6QDL_PAD_KEY_COL4__UART5_CTS_B	0x1b0b1 */
		/*	>;													*/
		/*};													*/

		pinctrl_usbotg: usbotggrp {
			fsl,pins = <
				MX6QDL_PAD_ENET_RX_ER__USB_OTG_ID	0x17059
			>;
		};

		pinctrl_usdhc1: usdhc1grp {
			fsl,pins = <
				MX6QDL_PAD_SD1_CMD__SD1_CMD		0x17071
				MX6QDL_PAD_SD1_CLK__SD1_CLK		0x10071
				MX6QDL_PAD_SD1_DAT0__SD1_DATA0		0x17071
				MX6QDL_PAD_SD1_DAT1__SD1_DATA1		0x17071
				MX6QDL_PAD_SD1_DAT2__SD1_DATA2		0x17071
				MX6QDL_PAD_SD1_DAT3__SD1_DATA3		0x17071
				MX6QDL_PAD_SD4_DAT3__GPIO2_IO11		0x13069	/* WL_REG_ON */
			>;
		};

		pinctrl_usdhc2: usdhc2grp {
			fsl,pins = <
				MX6QDL_PAD_SD2_CMD__SD2_CMD			0x17059
				MX6QDL_PAD_SD2_CLK__SD2_CLK			0x17059
				MX6QDL_PAD_SD2_DAT0__SD2_DATA0		0x17059
				MX6QDL_PAD_SD2_DAT1__SD2_DATA1		0x17059
				MX6QDL_PAD_SD2_DAT2__SD2_DATA2		0x17059
				MX6QDL_PAD_SD2_DAT3__SD2_DATA3		0x17059
			>;
		};

		pinctrl_usdhc3: usdhc3grp {
			fsl,pins = <
				MX6QDL_PAD_SD3_CMD__SD3_CMD		0x17059
				MX6QDL_PAD_SD3_CLK__SD3_CLK		0x10059
				MX6QDL_PAD_SD3_DAT0__SD3_DATA0		0x17059
				MX6QDL_PAD_SD3_DAT1__SD3_DATA1		0x17059
				MX6QDL_PAD_SD3_DAT2__SD3_DATA2		0x17059
				MX6QDL_PAD_SD3_DAT3__SD3_DATA3		0x17059
				MX6QDL_PAD_SD3_DAT4__SD3_DATA4		0x17059
				MX6QDL_PAD_SD3_DAT5__SD3_DATA5		0x17059
				MX6QDL_PAD_SD3_DAT6__SD3_DATA6		0x17059
				MX6QDL_PAD_SD3_DAT7__SD3_DATA7		0x17059
			>;
		};

/*		pinctrl_usdhc4: usdhc4grp {									*/
/*			fsl,pins = <											*/
/*				MX6QDL_PAD_SD4_CMD__SD4_CMD		0x17059				*/
/*				MX6QDL_PAD_SD4_CLK__SD4_CLK		0x10059				*/
/*				MX6QDL_PAD_SD4_DAT1__SD4_DATA1		0x17059			*/
/*				MX6QDL_PAD_SD4_DAT2__SD4_DATA2		0x17059			*/
/*			>;														*/
/*		};															*/

		pinctrl_kpp1: kpp1 {
			fsl,pins = <
				/* rows */
				MX6QDL_PAD_CSI0_DAT14__GPIO6_IO00	0x80000000
				MX6QDL_PAD_CSI0_DAT15__GPIO6_IO01	0x80000000
				MX6QDL_PAD_CSI0_DAT16__GPIO6_IO02	0x80000000
				MX6QDL_PAD_CSI0_DAT17__GPIO6_IO03	0x80000000
				MX6QDL_PAD_CSI0_DAT18__GPIO6_IO04	0x80000000
				MX6QDL_PAD_CSI0_DAT19__GPIO6_IO05	0x80000000
				/* int */
				MX6QDL_PAD_CSI0_DAT13__GPIO5_IO31	0x80000000
 			>;
 		};
	};
};

/*&dcic1 {						*/
/*	dcic_id = <0>;				*/
/*	dcic_mux = "dcic-hdmi";		*/
/*	status = "disabled";		*/
/*};							*/

/*&dcic2 {						*/
/*	dcic_id = <1>;				*/
/*	dcic_mux = "dcic-lvds1";	*/
/*	status = "disabled";		*/
/*};							*/

&gpc {
	/* use ldo-bypass, u-boot will check it and configure */
	fsl,ldo-bypass = <1>;
	fsl,wdog-reset = <1>;
};

/*&hdmi_audio {				*/
/*	status = "disabled";	*/
/*};						*/

/*	&hdmi_cec {							*/
/*	pinctrl-names = "default";			*/
/*	pinctrl-0 = <&pinctrl_hdmi_cec>;	*/
/*	status = "disabled";				*/
/*	};									*/

/*	&hdmi_core {			*/
/*	ipu_id = <0>;			*/
/*	disp_id = <0>;			*/
/*	status = "disabled";	*/
/*	};						*/

/*&hdmi_video {							*/
/*	fsl,phy_reg_vlev = <0x0294>;		*/
/*	fsl,phy_reg_cksymtx = <0x800d>;		*/
/*	status = "disabled";				*/
/*};									*/

/*&ldb {											*/
/*	status = "disabled";							*/

	/*	pwren-gpios = <&gpio6 1 0>;					*/
	/*	lcdrev-gpios = <&gpio6 2 0>;				*/

/*	lvds-channel@0 {								*/
/*		fsl,data-mapping = "spwg";					*/
/*		fsl,data-width = <18>;						*/
/*		primary;									*/
/*		status = "disabled";						*/

/*		display-timings {							*/
/*			native-mode = <&timing0>;				*/
/*			timing0: hsd100pxn1 {					*/
/*				clock-frequency = <65000000>;		*/
/*				hactive = <1024>;					*/
/*				vactive = <768>;					*/
/*				hback-porch = <220>;				*/
/*				hfront-porch = <40>;				*/
/*				vback-porch = <21>;					*/
/*				vfront-porch = <7>;					*/
/*				hsync-len = <60>;					*/
/*				vsync-len = <10>;					*/
/*			};										*/
/*		};											*/
/*	};												*/

/*	lvds-channel@1 {								*/
/*		fsl,data-mapping = "spwg";					*/
/*		fsl,data-width = <18>;						*/
/*		status = "disabled";						*/

/*		display-timings {							*/
/*			native-mode = <&timing1>;				*/
/*			timing1: hsd100pxn1 {					*/
/*				clock-frequency = <65000000>;		*/
/*				hactive = <1024>;					*/
/*				vactive = <768>;					*/
/*				hback-porch = <220>;				*/
/*				hfront-porch = <40>;				*/
/*				vback-porch = <21>;					*/
/*				vfront-porch = <7>;					*/
/*				hsync-len = <60>;					*/
/*				vsync-len = <10>;					*/
/*			};										*/
/*		};											*/
/*	};												*/
/*};												*/

/*	&mipi_csi {					*/
/*	status = "disabled";		*/
/*	ipu_id = <0>;				*/
/*	csi_id = <1>;				*/
/*	v_channel = <0>;			*/
/*	lanes = <2>;				*/
/*	};							*/

/*	&mipi_dsi {											*/									
/*	dev_id = <0>;										*/		
/*	disp_id = <1>;										*/
/*	lcd_panel = "TRULY-WVGA";							*/
/*	disp-power-on-supply = <&reg_mipi_dsi_pwr_on>;		*/
/*	resets = <&mipi_dsi_reset>;							*/
/*	status = "disabled";								*/
/*	};													*/

/*&pcie {												*/
/*	power-on-gpio = <&gpio3 19 0>;						*/
/*	reset-gpio = <&gpio7 12 0>;							*/
/*	status = "disabled";								*/
/*};													*/

/*&pwm1 {												*/
/*	pinctrl-names = "default";							*/
/*	pinctrl-0 = <&pinctrl_pwm1>;						*/
/*	status = "disabled";								*/
/*};													*/

&pwm3 {
	pinctrl-names = "default";
	pinctrl-0 = <&pinctrl_pwm3>;
	status = "okay";
};

&pwm4 {
	pinctrl-names = "default";
	pinctrl-0 = <&pinctrl_pwm4>;
	status = "okay";
};

&ssi2 {
	fsl,mode = "i2s-slave";
	status = "okay";
};

&uart1 {
	pinctrl-names = "default";
	pinctrl-0 = <&pinctrl_uart1>;
	status = "okay";
};

&uart2 {								
	pinctrl-names = "default";			
	pinctrl-0 = <&pinctrl_uart2>;		
	fsl,uart-has-rtscts;				
	status = "okay";					
	/* for DTE mode, add below change 	*/
	/* fsl,dte-mode; 					*/
	/* pinctrl-0 = <&pinctrl_uart2dte>;	*/
};									

/*&uart3 {								*/
/*	pinctrl-names = "default";			*/
/*	pinctrl-0 = <&pinctrl_uart3>;		*/
/*	status = "disabled";				*/
/*};									*/

/*&uart4 {								*/
/*	pinctrl-names = "default";			*/
/*	pinctrl-0 = <&pinctrl_uart4>;		*/
/*    	status = "disabled";			*/
/*};									*/

/*&uart5 {								*/
/*    pinctrl-names = "default";		*/
/*    pinctrl-0 = <&pinctrl_uart5_1>;	*/
/*    fsl,uart-has-rtscts;				*/
/*    status = "disabled";				*/
/*};									*/

&usbh1 {
	vbus-supply = <&reg_usb_h1_vbus>;
	status = "okay";
};

&usbotg {
	vbus-supply = <&reg_usb_otg_vbus>;
	pinctrl-names = "default";
	pinctrl-0 = <&pinctrl_usbotg>;
	disable-over-current;
	srp-disable;
	hnp-disable;
	adp-disable;
	status = "okay";
};

&usdhc1 {
	pinctrl-names = "default";
	pinctrl-0 = <&pinctrl_usdhc1>;
	bus-width = <4>;
	/* cd-gpios = <&gpio2 0 0>; */
	wp-gpios = <&gpio2 0 1>;
	no-1-8-v;
	wifi-host;
	pm-ignore-notify;
	keep-power-in-suspend;
	enable-sdio-wakeup;
	status = "okay";
};

&usdhc2 {
	pinctrl-names = "default";
	pinctrl-0 = <&pinctrl_usdhc2>;
	bus-width = <4>;
	cd-gpios = <&gpio1 4 0>;
	/* wp-gpios = <>; */
	no-1-8-v;
 	pm-ignore-notify;
  	keep-power-in-suspend;
	status = "okay";
};

&usdhc3 {
	pinctrl-names = "default";
	pinctrl-0 = <&pinctrl_usdhc3>;
	bus-width = <8>;
	non-removable;
	no-1-8-v;
	keep-power-in-suspend;
	status = "okay";
};

/*&usdhc4 {							*/
/*	pinctrl-names = "default";		*/
/*	pinctrl-0 = <&pinctrl_usdhc4>;	*/
/*	bus-width = <8>;				*/
/*	non-removable;					*/
/*	no-1-8-v;						*/
/*	keep-power-in-suspend;			*/
/*	status = "disabled";			*/
/*};								*/

&wdog1 {
	status = "okay";
};

/*&wdog2 {							*/
/*	status = "disabled";			*/
/*};								*/
